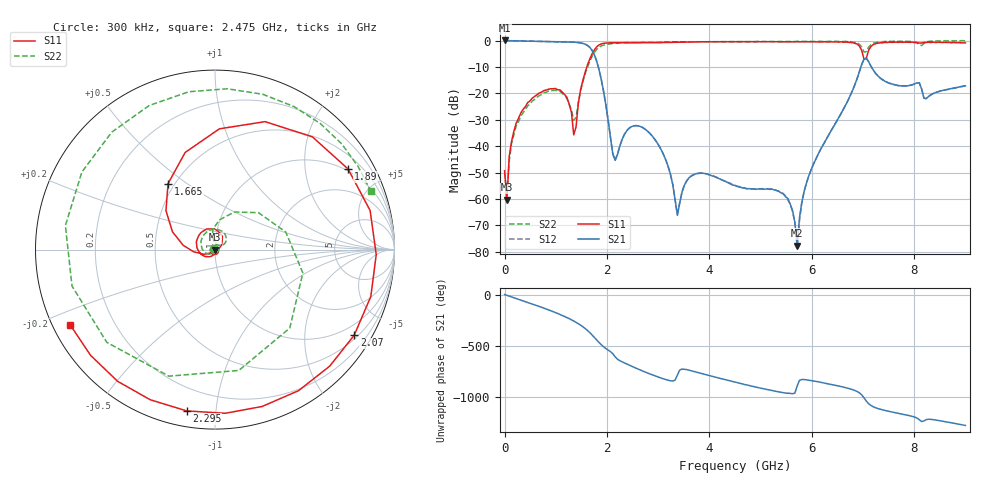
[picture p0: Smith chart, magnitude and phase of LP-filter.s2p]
# Hz S DB R 50
! CMT, SC5090, 24087134, 25.3.3/4
! Date: 12.12.2025 15:04:17
! Data: Format (Calibration Info)
! Freq	S11:dB/Ang(F2)	S21:dB/Ang(F2)	S12:dB/Ang(F2)	S22:dB/Ang(F2)
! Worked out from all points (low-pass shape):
!   201 points, 300 kHz to 9 GHz, reference 50 ohm
!   highest |S21| = 0.07 dB at 300 kHz (marker M1); lowest = -77.6 dB at 5.715 GHz (marker M2)
!   |S21| within 3 dB of the highest: start of sweep to 1.679 GHz
!   lowest |S11| = -60.3 dB at 45.3 MHz (marker M3), VSWR 1.00, Z = 50 - j0.0918 ohm
!   |S11| at or under -10 dB: start of sweep to 1.606 GHz
!   |S22| runs from -58.7 to 0.0 dB; largest |S21 - S12| = 0.0028
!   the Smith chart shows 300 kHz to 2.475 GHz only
!   S11 on the Smith chart (normalised r, x): 300 kHz: 0.99, -0.00; 1.665 GHz: 0.46, +0.43; 1.89 GHz: 0.93, +3.34; 2.07 GHz: 0.62, -3.43; 2.295 GHz: 0.08, -0.84; 2.475 GHz: 0.05, -0.24
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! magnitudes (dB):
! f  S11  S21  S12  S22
! 300 kHz  -49.3  0.1  0.0  -49.9
! 45.3 MHz  -60.3  0.0  0.0  -58.7
! 135.3 MHz  -38.3  0.0  0.0  -39.0
! 360.3 MHz  -26.1  -0.1  -0.1  -27.3
! 1.08 GHz  -18.7  -0.4  -0.4  -19.2
! 1.35 GHz  -35.7  -0.6  -0.6  -30.2
! 1.53 GHz  -15.0  -1.1  -1.1  -15.5
! 1.665 GHz  -6.9  -2.6  -2.6  -7.8
! 1.89 GHz  -1.2  -14.9  -14.9  -2.0
! 2.07 GHz  -0.8  -37.0  -37.0  -1.2
! 2.295 GHz  -0.8  -37.4  -37.4  -0.8
! 2.475 GHz  -0.8  -32.6  -32.6  -0.7
! 3.015 GHz  -0.8  -39.8  -39.8  -0.5
! 3.375 GHz  -0.6  -66.2  -65.8  -0.5
! 3.69 GHz  -0.5  -50.8  -50.8  -0.4
! 4.5 GHz  -0.4  -54.9  -54.9  -0.4
! 5.445 GHz  -0.4  -58.1  -58.0  -0.3
! 5.715 GHz  -0.4  -77.6  -77.9  -0.3
! 6.03 GHz  -0.4  -46.9  -46.9  -0.3
! 7.02 GHz  -7.1  -6.9  -6.9  -4.3
! 7.515 GHz  -0.6  -16.1  -16.2  -0.2
! 9 GHz  -0.8  -17.1  -17.2  -0.1
